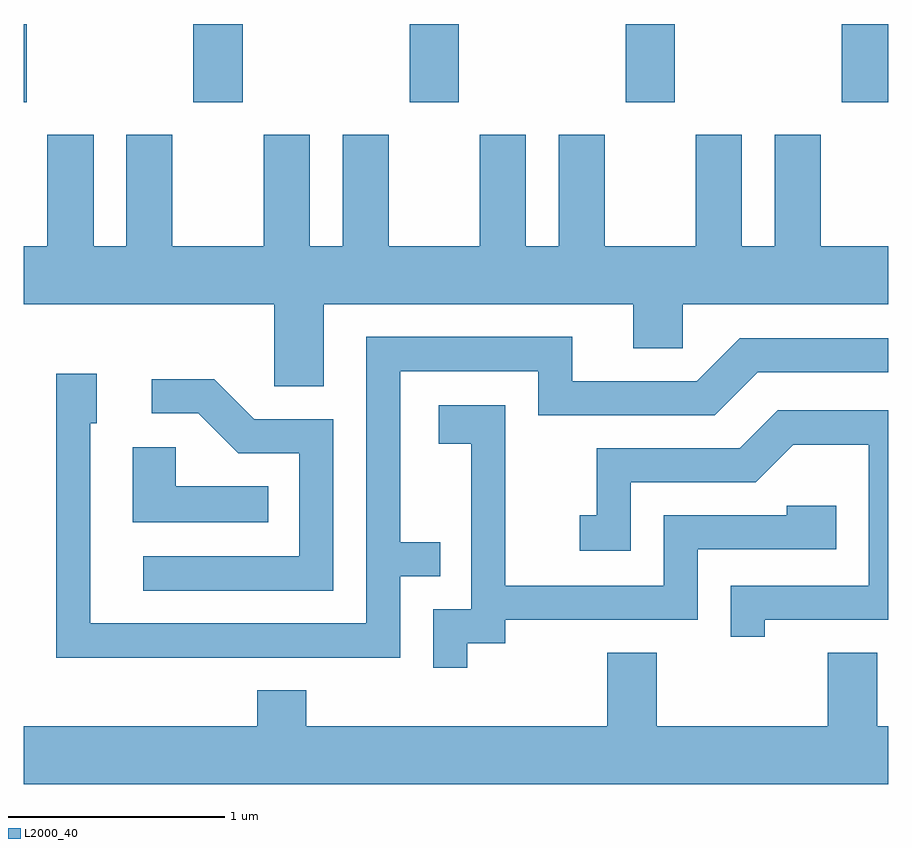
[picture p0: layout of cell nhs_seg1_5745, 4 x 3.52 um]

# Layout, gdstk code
import gdstk
lib = gdstk.Library(unit=1e-6, precision=1e-09)
def R(c, l, rs):  # rectangles x0, y0, x1, y1
    for r in rs: c.add(gdstk.rectangle(r[:2], r[2:], *l))
def A(c, l, x, y, w, h, nx, ny, dx, dy):  # array of equal rectangles
    R(c, l, [(x+i*dx, y+j*dy, x+i*dx+w, y+j*dy+h) for i in range(nx) for j in range(ny)])
def P(c, l, *ps):  # polygons
    for p in ps: c.add(gdstk.Polygon(p, *l))
L2000_40 = (2000, 40)

nhs_seg1_5745 = lib.new_cell('nhs_seg1_5745')
A(nhs_seg1_5745, L2000_40, 358.396, 949.351, 0.228, 0.361, 3, 1, 1, 0)
R(nhs_seg1_5745, L2000_40, [(357.611,949.351,357.624,949.712), (361.396,949.351,361.611,949.712)])
P(nhs_seg1_5745, L2000_40, [(358.771,948.036),(358.999,948.036),(358.999,948.416),(360.431,948.416),(360.431,948.211),(360.659,948.211),(360.659,948.416),(361.611,948.416),(361.611,948.684),(361.299,948.684),(361.299,949.199),(361.086,949.199),(361.086,948.684),(360.934,948.684),(360.934,949.199),(360.721,949.199),(360.721,948.684),(360.299,948.684),(360.299,949.199),(360.086,949.199),(360.086,948.684),(359.934,948.684),(359.934,949.199),(359.721,949.199),(359.721,948.684),(359.299,948.684),(359.299,949.199),(359.086,949.199),(359.086,948.684),(358.934,948.684),(358.934,949.199),(358.721,949.199),(358.721,948.684),(358.299,948.684),(358.299,949.199),(358.086,949.199),(358.086,948.684),(357.934,948.684),(357.934,949.199),(357.721,949.199),(357.721,948.684),(357.611,948.684),(357.611,948.416),(358.771,948.416)],
  [(359.354,947.156),(359.538,947.156),(359.538,947.314),(359.354,947.314),(359.354,948.106),(359.991,948.106),(359.991,947.901),(360.807,947.901),(361.007,948.101),(361.611,948.101),(361.611,948.259),(360.924,948.259),(360.724,948.059),(360.149,948.059),(360.149,948.264),(359.196,948.264),(359.196,946.939),(357.919,946.939),(357.919,947.866),(357.949,947.866),(357.949,948.094),(357.761,948.094),(357.761,946.781),(359.354,946.781)],
  [(359.044,947.884),(358.677,947.884),(358.492,948.069),(358.203,948.069),(358.203,947.911),(358.419,947.911),(358.604,947.726),(358.886,947.726),(358.886,947.249),(358.163,947.249),(358.163,947.091),(359.044,947.091)],
  [(359.664,946.846),(359.839,946.846),(359.839,946.956),(360.729,946.956),(360.729,947.281),(361.369,947.281),(361.369,947.484),(361.141,947.484),(361.141,947.439),(360.571,947.439),(360.571,947.114),(359.839,947.114),(359.839,947.949),(359.531,947.949),(359.531,947.771),(359.681,947.771),(359.681,947.004),(359.506,947.004),(359.506,946.733),(359.664,946.733)],
  [(361.039,946.956),(361.611,946.956),(361.611,947.924),(361.099,947.924),(360.924,947.749),(360.261,947.749),(360.261,947.439),(360.183,947.439),(360.183,947.276),(360.419,947.276),(360.419,947.591),(360.997,947.591),(361.172,947.766),(361.521,947.766),(361.521,947.114),(360.881,947.114),(360.881,946.878),(361.039,946.878)],
  [(358.743,947.574),(358.314,947.574),(358.314,947.754),(358.116,947.754),(358.116,947.406),(358.743,947.406)],
  [(361.611,946.464),(361.559,946.464),(361.559,946.804),(361.331,946.804),(361.331,946.464),(360.539,946.464),(360.539,946.804),(360.311,946.804),(360.311,946.464),(358.919,946.464),(358.919,946.629),(358.691,946.629),(358.691,946.464),(357.611,946.464),(357.611,946.196),(361.611,946.196)])

lib.write_gds('nhs_seg1_5745.gds')
